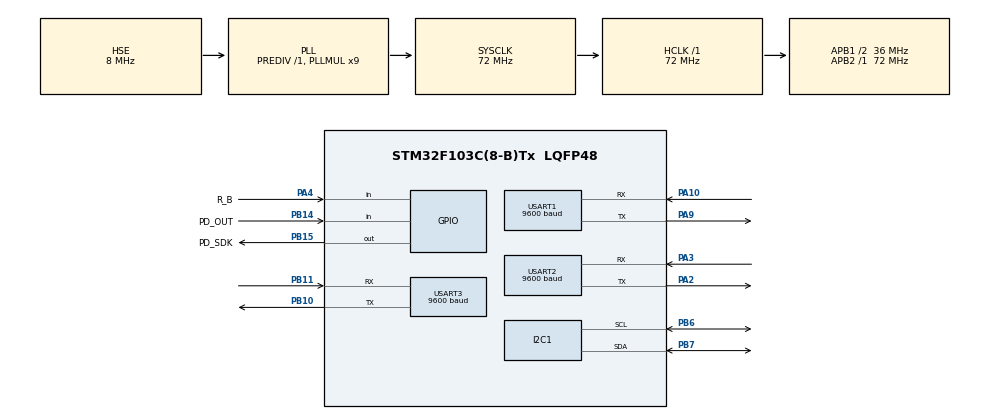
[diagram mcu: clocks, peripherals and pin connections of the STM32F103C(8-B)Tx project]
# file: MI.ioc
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Dma.Request0=USART3_RX
Dma.USART3_RX.0.Direction=DMA_PERIPH_TO_MEMORY
Dma.USART3_RX.0.Instance=DMA1_Channel3
Dma.USART3_RX.0.MemDataAlignment=DMA_MDATAALIGN_BYTE
Dma.USART3_RX.0.MemInc=DMA_MINC_ENABLE
Dma.USART3_RX.0.Mode=DMA_NORMAL
Dma.USART3_RX.0.PeriphDataAlignment=DMA_PDATAALIGN_BYTE
Dma.USART3_RX.0.PeriphInc=DMA_PINC_DISABLE
Dma.USART3_RX.0.Priority=DMA_PRIORITY_LOW
Mcu.Family=STM32F1
Mcu.Name=STM32F103C(8-B)Tx
Mcu.Package=LQFP48
NVIC.DMA1_Channel3_IRQn=true\:0\:0\:false\:false\:true\:false\:true
NVIC.PriorityGroup=NVIC_PRIORITYGROUP_2
NVIC.USART3_IRQn=true\:1\:0\:true\:false\:true\:true\:true
PA10.Mode=Asynchronous
PA10.Signal=USART1_RX
PA13.Mode=Serial_Wire
PA13.Signal=SYS_JTMS-SWDIO
PA14.Mode=Serial_Wire
PA14.Signal=SYS_JTCK-SWCLK
PA2.Mode=Asynchronous
PA2.Signal=USART2_TX
PA3.Mode=Asynchronous
PA3.Signal=USART2_RX
PA4.GPIO_Label=R_B
PA4.Signal=GPIO_Input
PA9.Mode=Asynchronous
PA9.Signal=USART1_TX
PB10.Mode=Asynchronous
PB10.Signal=USART3_TX
PB11.Mode=Asynchronous
PB11.Signal=USART3_RX
PB14.GPIO_Label=PD_OUT
PB14.Signal=GPIO_Input
PB15.GPIO_Label=PD_SDK
PB15.Signal=GPIO_Output
PB6.Mode=I2C
PB6.Signal=I2C1_SCL
PB7.Mode=I2C
PB7.Signal=I2C1_SDA
PD0-OSC_IN.Mode=HSE-External-Oscillator
PD0-OSC_IN.Signal=RCC_OSC_IN
PD1-OSC_OUT.Mode=HSE-External-Oscillator
PD1-OSC_OUT.Signal=RCC_OSC_OUT
ProjectManager.HeapSize=0x200
ProjectManager.StackSize=0x400
ProjectManager.TargetToolchain=MDK-ARM V5.27
RCC.AHBFreq_Value=72000000
RCC.APB1CLKDivider=RCC_HCLK_DIV2
RCC.APB1Freq_Value=36000000
RCC.APB1TimFreq_Value=72000000
RCC.APB2Freq_Value=72000000
RCC.APB2TimFreq_Value=72000000
RCC.HCLKFreq_Value=72000000
RCC.PLLMUL=RCC_PLL_MUL9
RCC.PLLSourceVirtual=RCC_PLLSOURCE_HSE
RCC.SYSCLKFreq_VALUE=72000000
RCC.SYSCLKSource=RCC_SYSCLKSOURCE_PLLCLK
RCC.USBFreq_Value=72000000
USART1.BaudRate=9600
USART1.VirtualMode=VM_ASYNC
USART2.BaudRate=9600
USART2.VirtualMode=VM_ASYNC
USART3.BaudRate=9600
USART3.VirtualMode=VM_ASYNC
board=custom

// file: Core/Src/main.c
/* USER CODE BEGIN Header */
/**
  ******************************************************************************
  * @file           : main.c
  * @brief          : Main program body
  ******************************************************************************
  * @attention
  *
  * <h2><center>&copy; Copyright (c) 2020 STMicroelectronics.
  * All rights reserved.</center></h2>
  *
  * This software component is licensed by ST under BSD 3-Clause license,
  * the "License"; You may not use this file except in compliance with the
  * License. You may obtain a copy of the License at:
  *                        opensource.org/licenses/BSD-3-Clause
  *
  ******************************************************************************
  */
/* USER CODE END Header */
#include "main.h"
#include "dma.h"
#include "i2c.h"
#include "usart.h"
#include "gpio.h"

/* USER CODE BEGIN Includes */
#include "TM1650.h"
#include "myiic.h"
#include "delay.h"
#include "HX711.h"
#include "SYN6288.h"
#include "user.h"
/* USER CODE END Includes */

void SystemClock_Config(void);

int main(void)
{

  /* MCU Configuration--------------------------------------------------------*/

  /* Reset of all peripherals, Initializes the Flash interface and the Systick. */
  HAL_Init();

  /* Configure the system clock */
  SystemClock_Config();

  /* Initialize all configured peripherals */
  MX_GPIO_Init();
  MX_DMA_Init();
  MX_I2C1_Init();
  MX_USART1_UART_Init();
  MX_USART2_UART_Init();
  MX_USART3_UART_Init();
  /* USER CODE BEGIN 2 */
	__HAL_UART_ENABLE_IT(&huart3,UART_IT_IDLE );
	MyIICInit();
  TM1650_Init();

	WeighInit();
	SYN_FrameInfo(0,(uint8_t*)"[v15][m16][t5]",2);
//	WeighDisplay(number);
//		DisplayOff();
  /* USER CODE END 2 */

  /* Infinite loop */
  /* USER CODE BEGIN WHILE */
  while (1)
  {
		if(InitFlag == 1)
		{
			WeighInit();
			InitFlag=0;
		}
		WeighCount(0);
		delay_ms(100);

    /* USER CODE END WHILE */

  }
}

void SystemClock_Config(void)
{
  RCC_OscInitTypeDef RCC_OscInitStruct = {0};
  RCC_ClkInitTypeDef RCC_ClkInitStruct = {0};

  /** Initializes the RCC Oscillators according to the specified parameters
  * in the RCC_OscInitTypeDef structure.
  */
  RCC_OscInitStruct.OscillatorType = RCC_OSCILLATORTYPE_HSE;
  RCC_OscInitStruct.HSEState = RCC_HSE_ON;
  RCC_OscInitStruct.HSEPredivValue = RCC_HSE_PREDIV_DIV1;
  RCC_OscInitStruct.HSIState = RCC_HSI_ON;
  RCC_OscInitStruct.PLL.PLLState = RCC_PLL_ON;
  RCC_OscInitStruct.PLL.PLLSource = RCC_PLLSOURCE_HSE;
  RCC_OscInitStruct.PLL.PLLMUL = RCC_PLL_MUL9;
  if (HAL_RCC_OscConfig(&RCC_OscInitStruct) != HAL_OK)
  {
    Error_Handler();
  }
  /** Initializes the CPU, AHB and APB buses clocks
  */
  RCC_ClkInitStruct.ClockType = RCC_CLOCKTYPE_HCLK|RCC_CLOCKTYPE_SYSCLK
                              |RCC_CLOCKTYPE_PCLK1|RCC_CLOCKTYPE_PCLK2;
  RCC_ClkInitStruct.SYSCLKSource = RCC_SYSCLKSOURCE_PLLCLK;
  RCC_ClkInitStruct.AHBCLKDivider = RCC_SYSCLK_DIV1;
  RCC_ClkInitStruct.APB1CLKDivider = RCC_HCLK_DIV2;
  RCC_ClkInitStruct.APB2CLKDivider = RCC_HCLK_DIV1;

  if (HAL_RCC_ClockConfig(&RCC_ClkInitStruct, FLASH_LATENCY_2) != HAL_OK)
  {
    Error_Handler();
  }
}

void Error_Handler(void)
{
}

/************************ (C) COPYRIGHT STMicroelectronics *****END OF FILE****/
